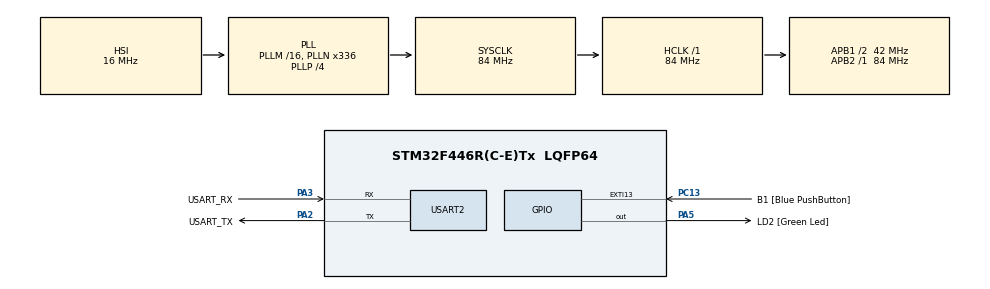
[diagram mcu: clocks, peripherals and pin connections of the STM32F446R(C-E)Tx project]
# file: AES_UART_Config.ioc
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Mcu.Family=STM32F4
Mcu.Name=STM32F446R(C-E)Tx
Mcu.Package=LQFP64
NVIC.PriorityGroup=NVIC_PRIORITYGROUP_0
NVIC.USART2_IRQn=true\:0\:0\:false\:false\:true\:true\:true\:true
PA13.GPIO_Label=TMS
PA13.Signal=SYS_JTMS-SWDIO
PA14.GPIO_Label=TCK
PA14.Signal=SYS_JTCK-SWCLK
PA2.GPIO_Label=USART_TX
PA2.Mode=Asynchronous
PA2.Signal=USART2_TX
PA3.GPIO_Label=USART_RX
PA3.Mode=Asynchronous
PA3.Signal=USART2_RX
PA5.GPIO_Label=LD2 [Green Led]
PA5.Signal=GPIO_Output
PB3.GPIO_Label=SWO
PB3.Signal=SYS_JTDO-SWO
PC13.GPIO_Label=B1 [Blue PushButton]
PC13.GPIO_ModeDefaultEXTI=GPIO_MODE_IT_FALLING
PC13.Signal=GPXTI13
PC14-OSC32_IN.Signal=RCC_OSC32_IN
PC15-OSC32_OUT.Signal=RCC_OSC32_OUT
PH0-OSC_IN.Signal=RCC_OSC_IN
PH1-OSC_OUT.Signal=RCC_OSC_OUT
ProjectManager.HeapSize=0x200
ProjectManager.StackSize=0x400
ProjectManager.TargetToolchain=STM32CubeIDE
RCC.AHBFreq_Value=84000000
RCC.APB1CLKDivider=RCC_HCLK_DIV2
RCC.APB1Freq_Value=42000000
RCC.APB1TimFreq_Value=84000000
RCC.APB2Freq_Value=84000000
RCC.APB2TimFreq_Value=84000000
RCC.CortexFreq_Value=84000000
RCC.FLatency-AdvancedSettings=FLASH_LATENCY_2
RCC.HCLKFreq_Value=84000000
RCC.HSE_VALUE=8000000
RCC.HSI_VALUE=16000000
RCC.LSE_VALUE=32768
RCC.PLLN=336
RCC.PLLP=RCC_PLLP_DIV4
RCC.SYSCLKFreq_VALUE=84000000
RCC.SYSCLKSource=RCC_SYSCLKSOURCE_PLLCLK
RCC.USBFreq_Value=168000000
RCC.VCOOutputFreq_Value=336000000
USART2.VirtualMode=VM_ASYNC
board=NUCLEO-F446RE

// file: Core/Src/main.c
/* USER CODE BEGIN Header */
/**
  ******************************************************************************
  * @file           : main.c
  * @brief          : Main program body
  ******************************************************************************
  * @attention
  *
  * Copyright (c) 2025 STMicroelectronics.
  * All rights reserved.
  *
  * This software is licensed under terms that can be found in the LICENSE file
  * in the root directory of this software component.
  * If no LICENSE file comes with this software, it is provided AS-IS.
  *
  ******************************************************************************
  */
/* USER CODE END Header */
#include "main.h"

UART_HandleTypeDef huart2;

/* USER CODE BEGIN PV */
uint8_t aes_key[16] = {
		'T','e','s','t','K','e','y','1','2','3','4','5','6','7','8','9'
};

uint8_t rx_buffer[16];
uint8_t led_on_cmd[16] = 		"LED_ON__________";
uint8_t led_off_cmd[16] = 		"LED_OFF_________";
uint8_t led_blink_cmd[16] = 	"LED_BLINK_______";

/* USER CODE END PV */

void SystemClock_Config(void);
static void MX_GPIO_Init(void);
static void MX_USART2_UART_Init(void);

int main(void)
{

  /* MCU Configuration--------------------------------------------------------*/

  /* Reset of all peripherals, Initializes the Flash interface and the Systick. */
  HAL_Init();

  /* Configure the system clock */
  SystemClock_Config();

  /* Initialize all configured peripherals */
  MX_GPIO_Init();
  MX_USART2_UART_Init();
  /* USER CODE BEGIN 2 */

  struct AES_ctx ctx;

  AES_init_ctx(&ctx, aes_key);

  /* USER CODE END 2 */

  /* Infinite loop */
  /* USER CODE BEGIN WHILE */
  while (1)
  {
	  HAL_UART_Receive(&huart2, rx_buffer, 16, HAL_MAX_DELAY);
	  AES_ECB_decrypt(&ctx, rx_buffer);

	  if(memcmp(rx_buffer, led_on_cmd, 16) == 0) {
		  HAL_GPIO_WritePin(GPIOA, GPIO_PIN_5, GPIO_PIN_SET);
	  }
	  else if (memcmp(rx_buffer, led_off_cmd, 16) == 0) {
		  HAL_GPIO_WritePin(GPIOA, GPIO_PIN_5, GPIO_PIN_RESET);
	  }
	  else if (memcmp(rx_buffer, led_blink_cmd, 16) == 0) {
		  HAL_GPIO_WritePin(GPIOA, GPIO_PIN_5, GPIO_PIN_RESET);
	      for (int i = 0; i < 5; i++) {
	          HAL_GPIO_TogglePin(GPIOA, GPIO_PIN_5);
	          HAL_Delay(200);
	      }
	      HAL_GPIO_WritePin(GPIOA, GPIO_PIN_5, GPIO_PIN_RESET);
	  }
    /* USER CODE END WHILE */

  }
}

void SystemClock_Config(void)
{
  RCC_OscInitTypeDef RCC_OscInitStruct = {0};
  RCC_ClkInitTypeDef RCC_ClkInitStruct = {0};

  /** Configure the main internal regulator output voltage
  */
  __HAL_RCC_PWR_CLK_ENABLE();
  __HAL_PWR_VOLTAGESCALING_CONFIG(PWR_REGULATOR_VOLTAGE_SCALE3);

  /** Initializes the RCC Oscillators according to the specified parameters
  * in the RCC_OscInitTypeDef structure.
  */
  RCC_OscInitStruct.OscillatorType = RCC_OSCILLATORTYPE_HSI;
  RCC_OscInitStruct.HSIState = RCC_HSI_ON;
  RCC_OscInitStruct.HSICalibrationValue = RCC_HSICALIBRATION_DEFAULT;
  RCC_OscInitStruct.PLL.PLLState = RCC_PLL_ON;
  RCC_OscInitStruct.PLL.PLLSource = RCC_PLLSOURCE_HSI;
  RCC_OscInitStruct.PLL.PLLM = 16;
  RCC_OscInitStruct.PLL.PLLN = 336;
  RCC_OscInitStruct.PLL.PLLP = RCC_PLLP_DIV4;
  RCC_OscInitStruct.PLL.PLLQ = 2;
  RCC_OscInitStruct.PLL.PLLR = 2;
  if (HAL_RCC_OscConfig(&RCC_OscInitStruct) != HAL_OK)
  {
    Error_Handler();
  }

  /** Initializes the CPU, AHB and APB buses clocks
  */
  RCC_ClkInitStruct.ClockType = RCC_CLOCKTYPE_HCLK|RCC_CLOCKTYPE_SYSCLK
                              |RCC_CLOCKTYPE_PCLK1|RCC_CLOCKTYPE_PCLK2;
  RCC_ClkInitStruct.SYSCLKSource = RCC_SYSCLKSOURCE_PLLCLK;
  RCC_ClkInitStruct.AHBCLKDivider = RCC_SYSCLK_DIV1;
  RCC_ClkInitStruct.APB1CLKDivider = RCC_HCLK_DIV2;
  RCC_ClkInitStruct.APB2CLKDivider = RCC_HCLK_DIV1;

  if (HAL_RCC_ClockConfig(&RCC_ClkInitStruct, FLASH_LATENCY_2) != HAL_OK)
  {
    Error_Handler();
  }
}

static void MX_USART2_UART_Init(void)
{

  huart2.Instance = USART2;
  huart2.Init.BaudRate = 115200;
  huart2.Init.WordLength = UART_WORDLENGTH_8B;
  huart2.Init.StopBits = UART_STOPBITS_1;
  huart2.Init.Parity = UART_PARITY_NONE;
  huart2.Init.Mode = UART_MODE_TX_RX;
  huart2.Init.HwFlowCtl = UART_HWCONTROL_NONE;
  huart2.Init.OverSampling = UART_OVERSAMPLING_16;
  if (HAL_UART_Init(&huart2) != HAL_OK)
  {
    Error_Handler();
  }

}

static void MX_GPIO_Init(void)
{
  GPIO_InitTypeDef GPIO_InitStruct = {0};

  /* GPIO Ports Clock Enable */
  __HAL_RCC_GPIOC_CLK_ENABLE();
  __HAL_RCC_GPIOH_CLK_ENABLE();
  __HAL_RCC_GPIOA_CLK_ENABLE();
  __HAL_RCC_GPIOB_CLK_ENABLE();

  /*Configure GPIO pin Output Level */
  HAL_GPIO_WritePin(LD2_GPIO_Port, LD2_Pin, GPIO_PIN_RESET);

  /*Configure GPIO pin : B1_Pin */
  GPIO_InitStruct.Pin = B1_Pin;
  GPIO_InitStruct.Mode = GPIO_MODE_IT_FALLING;
  GPIO_InitStruct.Pull = GPIO_NOPULL;
  HAL_GPIO_Init(B1_GPIO_Port, &GPIO_InitStruct);

  /*Configure GPIO pin : LD2_Pin */
  GPIO_InitStruct.Pin = LD2_Pin;
  GPIO_InitStruct.Mode = GPIO_MODE_OUTPUT_PP;
  GPIO_InitStruct.Pull = GPIO_NOPULL;
  GPIO_InitStruct.Speed = GPIO_SPEED_FREQ_LOW;
  HAL_GPIO_Init(LD2_GPIO_Port, &GPIO_InitStruct);

}

void Error_Handler(void)
{
  __disable_irq();
  while (1)
  {
  }
}
